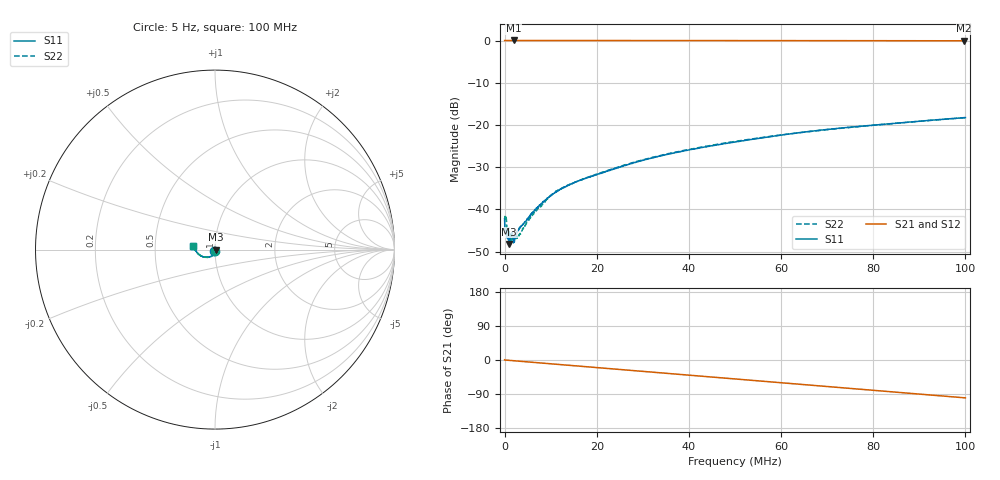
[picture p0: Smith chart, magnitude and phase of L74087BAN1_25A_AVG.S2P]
!Agilent Technologies,E5061B,MY49102235,A.02.00
!Date: Tue Jul 11 14:39:29 2023
!Data & Calibration Information:
!Freq	S11:SOLT2(ON)	S21:SOLT2(ON)	S12:SOLT2(ON)	S22:SOLT2(ON)
# Hz S RI R 50
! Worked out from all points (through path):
!   1600 points, 5 Hz to 100 MHz, reference 50 ohm
!   highest |S21| = 0.02 dB at 1.939 MHz (marker M1); lowest = -0.1 dB at 99.75 MHz (marker M2)
!   group delay of S21, straight-line fit = 2.78 ns
!   lowest |S11| = -48.2 dB at 1.001 MHz (marker M3), VSWR 1.01, Z = 50.4 - j0.0852 ohm
!   |S11| at or under -10 dB: start of sweep to end of sweep
!   |S22| runs from -48.7 to -18.3 dB; largest |S21 - S12| = 0.003
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5  -0.00529 -0.00563  1.002 0.00774  1 0.0103  -0.00149 -0.00754
187622.3  0.00544 -0.000359  1.001 -0.00227  1.001 -0.000944  0.00737 -0.00239
562856.8  0.00586 -0.000826  1.001 -0.0095  1.001 -0.00898  0.006 -0.00163
1000630  0.00381 -0.000846  1.001 -0.0166  1.001 -0.0159  0.00518 -0.00177
1563482  0.00439 -0.00302  1.001 -0.0264  1.001 -0.0252  0.00317 -0.00359
1938717  0.00316 -0.00247  1.002 -0.0337  1.001 -0.0329  0.00344 -0.00222
2376490  0.00334 -0.00315  0.9999 -0.0413  1 -0.0413  0.00395 -0.00283
3064420  0.00418 -0.00391  1 -0.0535  0.9989 -0.0529  0.00305 -0.00375
6003757  0.00331 -0.00829  0.9956 -0.1046  0.9955 -0.104  0.00284 -0.0081
9505946  0.00134 -0.0137  0.9874 -0.1655  0.9874 -0.1648  0.000742 -0.0137
1.200751e7  -0.000506 -0.0172  0.9791 -0.2082  0.9788 -0.2074  -0.00145 -0.0172
1.669794e7  -0.00428 -0.022  0.9584 -0.2875  0.9582 -0.2869  -0.00462 -0.0221
2.582865e7  -0.012 -0.0304  0.9008 -0.436  0.9005 -0.4354  -0.00995 -0.0317
3.333334e7  -0.0212 -0.0367  0.8356 -0.5497  0.8355 -0.5489  -0.0201 -0.0378
4.033771e7  -0.031 -0.0407  0.762 -0.647  0.762 -0.6463  -0.0309 -0.0417
5.003127e7  -0.0462 -0.0426  0.6419 -0.7659  0.6419 -0.7652  -0.0466 -0.0434
6.672921e7  -0.0768 -0.0359  0.394 -0.9164  0.3945 -0.916  -0.0761 -0.036
7.53596e7  -0.0909 -0.0259  0.2521 -0.964  0.2525 -0.9637  -0.0903 -0.0267
8.33646e7  -0.1023 -0.0129  0.1156 -0.989  0.1158 -0.9889  -0.1018 -0.0148
9.130707e7  -0.1123 0.00227  -0.0221 -0.9943  -0.0217 -0.9941  -0.112 -0.000622
9.974984e7  -0.1205 0.0204  -0.1675 -0.979  -0.1669 -0.9791  -0.1203 0.0177
1e8  -0.1207 0.0209  -0.1717 -0.9784  -0.1712 -0.9784  -0.1207 0.0184
